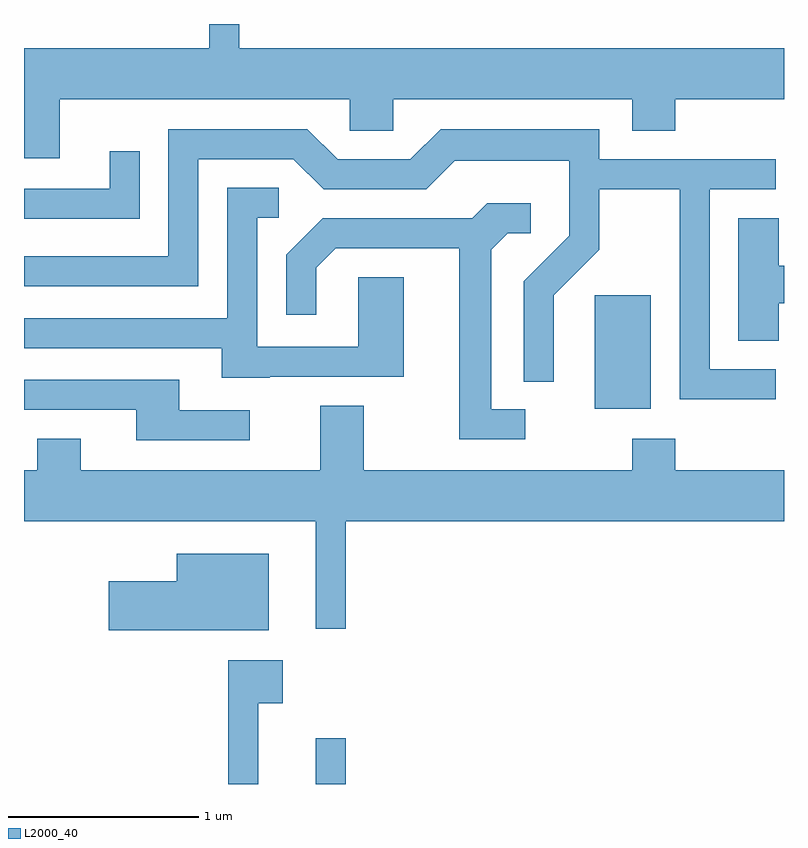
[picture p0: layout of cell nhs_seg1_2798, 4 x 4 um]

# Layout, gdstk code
import gdstk
lib = gdstk.Library(unit=1e-6, precision=1e-09)
def R(c, l, rs):  # rectangles x0, y0, x1, y1
    for r in rs: c.add(gdstk.rectangle(r[:2], r[2:], *l))
def P(c, l, *ps):  # polygons
    for p in ps: c.add(gdstk.Polygon(p, *l))
L2000_40 = (2000, 40)

nhs_seg1_2798 = lib.new_cell('nhs_seg1_2798')
R(nhs_seg1_2798, L2000_40, [(271.146,933.712,271.304,933.953), (272.616,935.686,272.909,936.284)])
P(nhs_seg1_2798, L2000_40, [(269.799,937.316),(271.326,937.316),(271.326,937.151),(271.554,937.151),(271.554,937.316),(272.811,937.316),(272.811,937.151),(273.039,937.151),(273.039,937.316),(273.611,937.316),(273.611,937.584),(270.744,937.584),(270.744,937.712),(270.586,937.712),(270.586,937.584),(269.611,937.584),(269.611,937.006),(269.799,937.006)],
  [(273.568,935.894),(273.219,935.894),(273.219,936.841),(273.568,936.841),(273.568,936.999),(272.639,936.999),(272.639,937.159),(271.804,937.159),(271.644,936.999),(271.262,936.999),(271.102,937.159),(270.371,937.159),(270.371,936.489),(269.611,936.489),(269.611,936.331),(270.529,936.331),(270.529,937.001),(271.029,937.001),(271.189,936.841),(271.727,936.841),(271.877,936.991),(272.481,936.991),(272.481,936.597),(272.241,936.357),(272.241,935.828),(272.399,935.828),(272.399,936.284),(272.639,936.524),(272.639,936.841),(273.061,936.841),(273.061,935.736),(273.568,935.736)],
  [(270.219,937.043),(270.061,937.043),(270.061,936.844),(269.611,936.844),(269.611,936.686),(270.219,936.686)],
  [(270.905,935.856),(271.609,935.856),(271.609,936.379),(271.371,936.379),(271.371,936.014),(270.839,936.014),(270.839,936.691),(270.953,936.691),(270.953,936.849),(270.681,936.849),(270.681,936.164),(269.611,936.164),(269.611,936.006),(270.651,936.006),(270.651,935.851),(270.905,935.851)],
  [(272.248,935.684),(272.069,935.684),(272.069,936.524),(272.157,936.611),(272.278,936.611),(272.278,936.769),(272.049,936.769),(271.969,936.689),(271.184,936.689),(270.991,936.497),(270.991,936.183),(271.149,936.183),(271.149,936.429),(271.252,936.531),(271.901,936.531),(271.901,935.526),(272.248,935.526)],
  [(273.584,936.241),(273.611,936.241),(273.611,936.439),(273.584,936.439),(273.584,936.689),(273.371,936.689),(273.371,936.046),(273.584,936.046)],
  [(270.798,935.679),(270.429,935.679),(270.429,935.839),(269.611,935.839),(269.611,935.681),(270.201,935.681),(270.201,935.521),(270.798,935.521)],
  [(271.304,935.096),(273.611,935.096),(273.611,935.364),(273.039,935.364),(273.039,935.529),(272.811,935.529),(272.811,935.364),(271.399,935.364),(271.399,935.704),(271.171,935.704),(271.171,935.364),(269.909,935.364),(269.909,935.529),(269.681,935.529),(269.681,935.364),(269.611,935.364),(269.611,935.096),(271.146,935.096),(271.146,934.528),(271.304,934.528)],
  [(270.899,934.924),(270.416,934.924),(270.416,934.779),(270.056,934.779),(270.056,934.521),(270.899,934.521)],
  [(270.844,934.136),(270.974,934.136),(270.974,934.364),(270.686,934.364),(270.686,933.712),(270.844,933.712)])

lib.write_gds('nhs_seg1_2798.gds')
